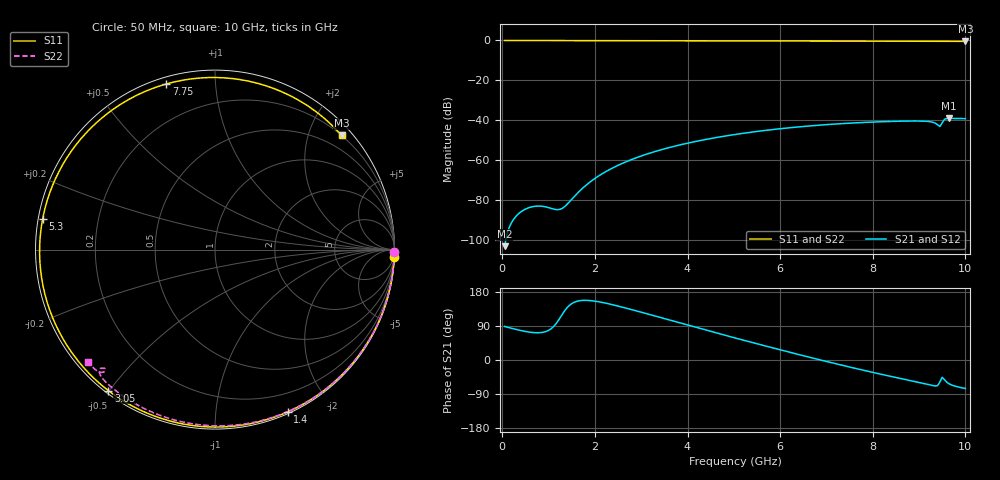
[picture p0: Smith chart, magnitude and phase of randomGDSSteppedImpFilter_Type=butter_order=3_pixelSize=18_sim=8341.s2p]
! freq	dB(S11)	phase(S11)	dB(S12)	phase(S12)
!  dB(S21)	phase(S21)	dB(S22)	phase(S22)
!S-par simulation data
#  GHz  S  DB  R 50
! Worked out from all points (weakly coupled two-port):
!   200 points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, 50 MHz to 10 GHz, reference 50 ohm
!   highest |S21| = -39.07 dB at 9.65 GHz (marker M1); lowest = -103.2 dB at 50 MHz (marker M2)
!   lowest |S11| = -0.4 dB at 10 GHz (marker M3), VSWR 38.76, Z = 9.97 + j129 ohm
!   |S11| at or under -10 dB: nowhere
!   |S22| runs from -0.9 to 0.0 dB; largest |S21 - S12| = 0
!   S11 on the Smith chart (normalised r, x): 50 MHz: 0, -46; 1.4 GHz: 0.02, -1.54; 3.05 GHz: 0.01, -0.50; 5.3 GHz: 0.01, +0.09; 7.75 GHz: 0.03, +0.75; 10 GHz: 0.20, +2.59
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0.05  -0.00 -2.5  -103.15 88.6  -103.15 88.6  -0.00 -0.8
0.65  -0.04 -31.8  -83.38 72.6  -83.38 72.6  -0.01 -10.4
1.05  -0.06 -50.4  -84.16 82.1  -84.16 82.1  -0.02 -16.7
1.4  -0.08 -65.9  -82.14 138.2  -82.14 138.2  -0.03 -22.2
1.5  -0.08 -70.2  -79.63 148.8  -79.63 148.8  -0.03 -23.8
1.75  -0.09 -80.5  -73.76 157.4  -73.76 157.4  -0.04 -27.7
2.3  -0.11 -101.6  -64.94 148.2  -64.94 148.2  -0.05 -36.2
3.05  -0.13 -127.1  -57.53 124.5  -57.53 124.5  -0.06 -47.5
3.4  -0.14 -137.9  -55.01 112.6  -55.01 112.6  -0.07 -52.7
4.2  -0.17 -161.0  -50.52 85.6  -50.52 85.6  -0.09 -64.3
5.05  -0.21 176.4  -47.07 57.4  -47.07 57.4  -0.12 -76.2
5.3  -0.22 169.9  -46.24 49.3  -46.24 49.3  -0.13 -79.6
6  -0.25 152.0  -44.27 26.9  -44.27 26.9  -0.15 -89.0
6.7  -0.28 134.0  -42.74 5.2  -42.74 5.2  -0.19 -98.2
7.75  -0.34 106.3  -41.17 -25.7  -41.17 -25.7  -0.26 -111.5
8.35  -0.36 89.8  -40.63 -42.2  -40.63 -42.2  -0.30 -119.0
9.2  -0.40 65.6  -40.63 -64.7  -40.63 -64.7  -0.39 -129.9
9.35  -0.41 61.2  -41.47 -68.6  -41.47 -68.6  -0.46 -132.4
9.45  -0.42 58.3  -43.16 -57.8  -43.16 -57.8  -0.73 -133.9
9.55  -0.42 55.4  -39.50 -52.0  -39.50 -52.0  -0.73 -132.2
9.65  -0.43 52.4  -39.07 -62.9  -39.07 -62.9  -0.54 -133.6
10  -0.45 42.1  -39.19 -75.2  -39.19 -75.2  -0.49 -138.5
